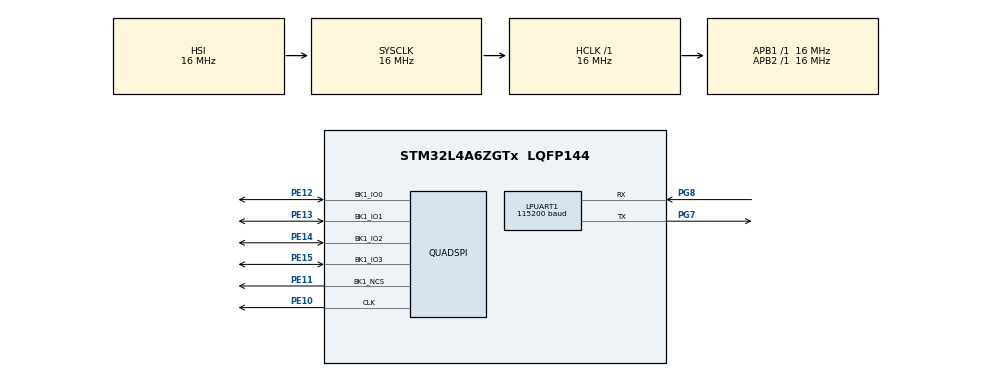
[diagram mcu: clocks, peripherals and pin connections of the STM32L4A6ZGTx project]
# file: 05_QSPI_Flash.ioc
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LPUART1.BaudRate=115200
LPUART1.WordLength=UART_WORDLENGTH_8B
Mcu.Family=STM32L4
Mcu.Name=STM32L4A6ZGTx
Mcu.Package=LQFP144
NVIC.PriorityGroup=NVIC_PRIORITYGROUP_4
PE10.Mode=Single Bank 1
PE10.Signal=QUADSPI_CLK
PE11.Mode=Single Bank 1
PE11.Signal=QUADSPI_BK1_NCS
PE12.Mode=Single Bank 1
PE12.Signal=QUADSPI_BK1_IO0
PE13.Mode=Single Bank 1
PE13.Signal=QUADSPI_BK1_IO1
PE14.Mode=Single Bank 1
PE14.Signal=QUADSPI_BK1_IO2
PE15.Mode=Single Bank 1
PE15.Signal=QUADSPI_BK1_IO3
PG7.Mode=Asynchronous
PG7.Signal=LPUART1_TX
PG8.Mode=Asynchronous
PG8.Signal=LPUART1_RX
ProjectManager.HeapSize=0x200
ProjectManager.StackSize=0x400
ProjectManager.TargetToolchain=STM32CubeIDE
QUADSPI.ClockPrescaler=0
QUADSPI.FifoThreshold=4
QUADSPI.FlashSize=21
RCC.AHBFreq_Value=16000000
RCC.APB1Freq_Value=16000000
RCC.APB1TimFreq_Value=16000000
RCC.APB2Freq_Value=16000000
RCC.APB2TimFreq_Value=16000000
RCC.CortexFreq_Value=16000000
RCC.HCLKFreq_Value=16000000
RCC.HSE_VALUE=8000000
RCC.HSI48_VALUE=48000000
RCC.HSI_VALUE=16000000
RCC.LSE_VALUE=32768
RCC.MSI_VALUE=4000000
RCC.SYSCLKFreq_VALUE=16000000
RCC.SYSCLKSource=RCC_SYSCLKSOURCE_HSI
RCC.VCOOutputFreq_Value=32000000
board=NUCLEO-L4A6ZG

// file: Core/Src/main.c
/* USER CODE BEGIN Header */
/**
  ******************************************************************************
  * @file           : main.c
  * @brief          : Main program body
  ******************************************************************************
  * @attention
  *
  * Copyright (c) 2024 STMicroelectronics.
  * All rights reserved.
  *
  * This software is licensed under terms that can be found in the LICENSE file
  * in the root directory of this software component.
  * If no LICENSE file comes with this software, it is provided AS-IS.
  *
  ******************************************************************************
  */
/* USER CODE END Header */
#include "main.h"

/* USER CODE BEGIN Includes */
#include "flash.h"
#include "string.h"
#include "stdio.h"
#include "MX25L_QSPI_Flash.h"
#include "FlashCircularBuffer.h"
/* USER CODE END Includes */

/* USER CODE BEGIN PM */

//change the value of this macro to 1 if you want to read/write to the flash in simple mode
#define SIMPLE_READ_WRITE 0

/* USER CODE END PM */

UART_HandleTypeDef hlpuart1;

QSPI_HandleTypeDef hqspi;

/* USER CODE BEGIN PV */
uint8_t *temp_buff = 0;
char *writebuff = "Hello World, from QSPI !!";
uint8_t test_buff[256];
uint8_t readbuff[200];
uint8_t PAGE_[10];

/* USER CODE END PV */

void SystemClock_Config(void);
static void MX_GPIO_Init(void);
static void MX_LPUART1_UART_Init(void);
static void MX_QUADSPI_Init(void);

int main(void)
{

  /* MCU Configuration--------------------------------------------------------*/

  /* Reset of all peripherals, Initializes the Flash interface and the Systick. */
  HAL_Init();

  /* Configure the system clock */
  SystemClock_Config();

  /* Initialize all configured peripherals */
  MX_GPIO_Init();
  MX_LPUART1_UART_Init();
  MX_QUADSPI_Init();
  /* USER CODE BEGIN 2 */

  /* Initialize the Flash */
  Flash_Init();
  /* Initialize the circular buffer */
  FlashCircularBufferInit(&fcb);

#if(CUSTOM_DEBUG)
  /* Structure for the read buffer */
  DATASET readSens;

  /* Structure for the write buffer */
  DATASET sensor_data = { .flow_total_ml = 1,
		  	  	  	  	  .run_time_hours = 2,
						  .water_meter_version = 1
  };
#else
	  data_info readStudent;
	  data_info Student_data = { .name ="Pratham\r\n",
	  	  	  	  	  	  	  	 .age = 23,
	                             .gender = 'M'
	  };
#endif

#if(SIMPLE_READ_WRITE)
  for(int indx = 0; indx < 256; indx++)
  {
	  test_buff[indx] = 'A';
  }
#endif

//  /* Read Flash ID */
//  BSP_QSPI_ReadID(temp_buff);
//  HAL_Delay(1000);

  /* To erase whole chip un-comment the below section */
  Flash_Erase(QSPI_ERASE_LEN_ALL,0);
  waitForFlashbusy();

  /* Erase the blocks of chip*/
//  Flash_Erase(QSPI_ERASE_LEN_64KB,BLOCK0_ADDR);
//  Flash_Erase(QSPI_ERASE_LEN_64KB,BLOCK1_ADDR);
//  Flash_Erase(QSPI_ERASE_LEN_64KB,BLOCK2_ADDR);
//  Flash_Erase(QSPI_ERASE_LEN_64KB,BLOCK3_ADDR);
//  Flash_Erase(QSPI_ERASE_LEN_64KB,BLOCK4_ADDR);
//  Flash_Erase(QSPI_ERASE_LEN_64KB,BLOCK5_ADDR);
//  Flash_Erase(QSPI_ERASE_LEN_64KB,BLOCK6_ADDR);
//  Flash_Erase(QSPI_ERASE_LEN_64KB,BLOCK7_ADDR);

  /* Wait for the chip erase */
  waitForFlashbusy();

#if(CUSTOM_DEBUG)
	  /* Write data to the flash using the circular buffer /
	   * Sector size = 4096 Bytes
	   * Block size  = 65536 Bytes
	   * Total blocks of 64KB = 16
	   * 4096 x 16 =  65536
	   * 65536 / 12 = 5461.333333333(12bytes at the time)
	   * 5461.333333333 = 5500 */
	  for(int index = 0; index < 5500; index++)
	  {
		  WriteDatasetToFlash(&fcb, &sensor_data, sizeof(DATASET));
		  /* Wait till the write complete */
		  waitForFlashbusy();
		  HAL_Delay(1);

		  /* Increase the dummy structure data for testing purpose */
		  sensor_data.flow_total_ml += 1;
		  sensor_data.run_time_hours += 1;
	  }
#else
	  fcb_status Writestatus;

	  Writestatus = WriteDatasetToFlash(&fcb, &Student_data, sizeof(data_info));
	  if(Writestatus != FCB_OK)
	  {
		  printf("FCB: Flash Write Failed!\r\n");
		  return 1;
	  }

	  /* Wait for some time */
	  HAL_Delay(3000);
#endif

#if(CUSTOM_DEBUG)
	  /* Read data form the flash using circular buffer */
	  for(int index = 0; index < 5500; index++)
	  {
		  ReadDatasetFromFlash(&fcb, &readSens, sizeof(readSens));
		  waitForFlashbusy();
		  HAL_Delay(1);
	  }
	  /* Wait for some time to debug */
	  HAL_Delay(3000);

  sensor_data.water_meter_version = 2;
#else
	memset(&readStudent, 0x00, sizeof(readStudent));

	fcb_status Readstatus;

	Readstatus = ReadDatasetFromFlash(&fcb, &readStudent, sizeof(readStudent));
	if (Readstatus != FCB_OK) {
		printf("FCB: Flash Read Failed!\r\n");
		return 1;
	}

	/* Wait for some time */
	HAL_Delay(3000);

	/* print the data */
	printf("\r\n");
	printf("Data Read from the Flash is: \r\n");
	printf("Name:   %s", readStudent.name);
	printf("Age:      %d\r\n", readStudent.age);
	printf("Gender: %c\r\n", readStudent.gender);

#endif

#if(CUSTOM_DEBUG)
	  /* Check the data role over to the FCB */
	  for(int i=0;i<5500;i++)
	  {
		  WriteDatasetToFlash(&fcb, &sensor_data, sizeof(DATASET));
		  waitForFlashbusy();
		  HAL_Delay(1);
		  sensor_data.flow_total_ml += 1;
		  sensor_data.run_time_hours += 1;
	  }

	  for(int i=0;i<5500;i++)
	  {
		  ReadDatasetFromFlash(&fcb, &readSens, sizeof(readSens));
		  waitForFlashbusy();
		  HAL_Delay(1);
	  }

	  /* Debug time */
	  HAL_Delay(3000);
#endif

  /* Simple read/write to the flash */
#if(SIMPLE_READ_WRITE)
  Flash_Write(writebuff, strlen(writebuff), PAGE_0);	//change writebuff to test_buf if required
  HAL_Delay(1000);
  waitForFlashbusy();
  Flash_Read(readbuff, 200, PAGE_0);
  HAL_Delay(1000);
  waitForFlashbusy();
#endif

  /* USER CODE END 2 */

  /* Infinite loop */
  while (1)
  {

  }
}

void SystemClock_Config(void)
{
  RCC_OscInitTypeDef RCC_OscInitStruct = {0};
  RCC_ClkInitTypeDef RCC_ClkInitStruct = {0};

  /** Configure the main internal regulator output voltage
  */
  if (HAL_PWREx_ControlVoltageScaling(PWR_REGULATOR_VOLTAGE_SCALE1) != HAL_OK)
  {
    Error_Handler();
  }

  /** Initializes the RCC Oscillators according to the specified parameters
  * in the RCC_OscInitTypeDef structure.
  */
  RCC_OscInitStruct.OscillatorType = RCC_OSCILLATORTYPE_HSI;
  RCC_OscInitStruct.HSIState = RCC_HSI_ON;
  RCC_OscInitStruct.HSICalibrationValue = RCC_HSICALIBRATION_DEFAULT;
  RCC_OscInitStruct.PLL.PLLState = RCC_PLL_NONE;
  if (HAL_RCC_OscConfig(&RCC_OscInitStruct) != HAL_OK)
  {
    Error_Handler();
  }

  /** Initializes the CPU, AHB and APB buses clocks
  */
  RCC_ClkInitStruct.ClockType = RCC_CLOCKTYPE_HCLK|RCC_CLOCKTYPE_SYSCLK
                              |RCC_CLOCKTYPE_PCLK1|RCC_CLOCKTYPE_PCLK2;
  RCC_ClkInitStruct.SYSCLKSource = RCC_SYSCLKSOURCE_HSI;
  RCC_ClkInitStruct.AHBCLKDivider = RCC_SYSCLK_DIV1;
  RCC_ClkInitStruct.APB1CLKDivider = RCC_HCLK_DIV1;
  RCC_ClkInitStruct.APB2CLKDivider = RCC_HCLK_DIV1;

  if (HAL_RCC_ClockConfig(&RCC_ClkInitStruct, FLASH_LATENCY_0) != HAL_OK)
  {
    Error_Handler();
  }
}

static void MX_LPUART1_UART_Init(void)
{

  hlpuart1.Instance = LPUART1;
  hlpuart1.Init.BaudRate = 115200;
  hlpuart1.Init.WordLength = UART_WORDLENGTH_8B;
  hlpuart1.Init.StopBits = UART_STOPBITS_1;
  hlpuart1.Init.Parity = UART_PARITY_NONE;
  hlpuart1.Init.Mode = UART_MODE_TX_RX;
  hlpuart1.Init.HwFlowCtl = UART_HWCONTROL_NONE;
  hlpuart1.Init.OneBitSampling = UART_ONE_BIT_SAMPLE_DISABLE;
  hlpuart1.AdvancedInit.AdvFeatureInit = UART_ADVFEATURE_NO_INIT;
  if (HAL_UART_Init(&hlpuart1) != HAL_OK)
  {
    Error_Handler();
  }

}

static void MX_QUADSPI_Init(void)
{

  /* QUADSPI parameter configuration*/
  hqspi.Instance = QUADSPI;
  hqspi.Init.ClockPrescaler = 0;
  hqspi.Init.FifoThreshold = 4;
  hqspi.Init.SampleShifting = QSPI_SAMPLE_SHIFTING_NONE;
  hqspi.Init.FlashSize = 21;
  hqspi.Init.ChipSelectHighTime = QSPI_CS_HIGH_TIME_1_CYCLE;
  hqspi.Init.ClockMode = QSPI_CLOCK_MODE_0;
  hqspi.Init.FlashID = QSPI_FLASH_ID_1;
  hqspi.Init.DualFlash = QSPI_DUALFLASH_DISABLE;
  if (HAL_QSPI_Init(&hqspi) != HAL_OK)
  {
    Error_Handler();
  }

}

static void MX_GPIO_Init(void)
{

  /* GPIO Ports Clock Enable */
  __HAL_RCC_GPIOE_CLK_ENABLE();
  __HAL_RCC_GPIOG_CLK_ENABLE();
  HAL_PWREx_EnableVddIO2();

}

void Error_Handler(void)
{
  __disable_irq();
  while (1)
  {
  }
}
